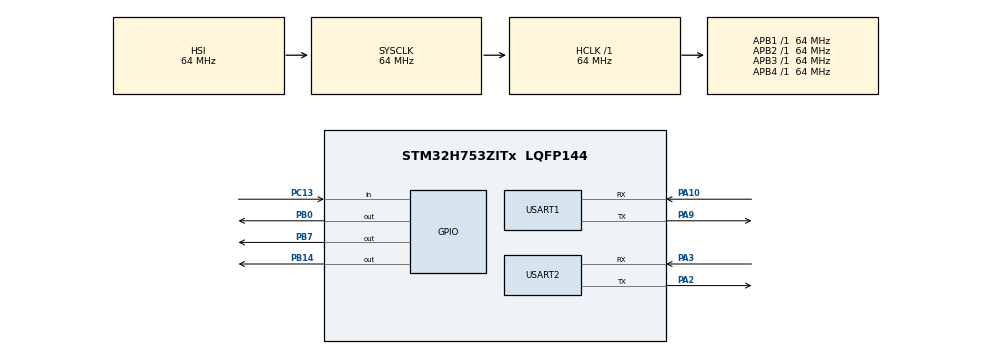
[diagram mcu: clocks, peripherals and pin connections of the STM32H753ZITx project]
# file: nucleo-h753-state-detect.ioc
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CORTEX_M7.CPU_DCache=Disabled
CORTEX_M7.CPU_ICache=Disabled
CORTEX_M7.MPU_Control=__NULL
CORTEX_M7.default_mode_Activation=1
Dma.Request0=USART1_RX
Dma.USART1_RX.0.Direction=DMA_PERIPH_TO_MEMORY
Dma.USART1_RX.0.EventEnable=DISABLE
Dma.USART1_RX.0.FIFOMode=DMA_FIFOMODE_DISABLE
Dma.USART1_RX.0.Instance=DMA1_Stream0
Dma.USART1_RX.0.MemDataAlignment=DMA_MDATAALIGN_BYTE
Dma.USART1_RX.0.MemInc=DMA_MINC_ENABLE
Dma.USART1_RX.0.Mode=DMA_CIRCULAR
Dma.USART1_RX.0.PeriphDataAlignment=DMA_PDATAALIGN_BYTE
Dma.USART1_RX.0.PeriphInc=DMA_PINC_DISABLE
Dma.USART1_RX.0.Polarity=HAL_DMAMUX_REQ_GEN_RISING
Dma.USART1_RX.0.Priority=DMA_PRIORITY_LOW
Dma.USART1_RX.0.RequestNumber=1
Dma.USART1_RX.0.SignalID=NONE
Dma.USART1_RX.0.SyncEnable=DISABLE
Dma.USART1_RX.0.SyncPolarity=HAL_DMAMUX_SYNC_NO_EVENT
Dma.USART1_RX.0.SyncRequestNumber=1
Dma.USART1_RX.0.SyncSignalID=NONE
Mcu.Family=STM32H7
Mcu.Name=STM32H753ZITx
Mcu.Package=LQFP144
NUCLEO-H753ZI.BUTTON=1
NUCLEO-H753ZI.Bsp_Common_DEMO=true
NUCLEO-H753ZI.LD1=true
NUCLEO-H753ZI.LD2=true
NUCLEO-H753ZI.LD3=true
NUCLEO-H753ZI.VCP=true
NVIC.DMA1_Stream0_IRQn=true\:0\:0\:false\:false\:true\:false\:true\:true
NVIC.EXTI15_10_IRQn=true\:0\:0\:false\:false\:true\:false\:true\:true
NVIC.PriorityGroup=NVIC_PRIORITYGROUP_4
NVIC.TIM6_DAC_IRQn=true\:15\:0\:false\:false\:true\:true\:true\:true
NVIC.TIM7_IRQn=true\:0\:0\:false\:false\:true\:true\:true\:true
NVIC.TimeBase=TIM6_DAC_IRQn
NVIC.TimeBaseIP=TIM6
NVIC.USART1_IRQn=true\:0\:0\:false\:false\:true\:true\:true\:true
PA10.Mode=Asynchronous
PA10.Signal=USART1_RX
PA2.Mode=Asynchronous
PA2.Signal=USART2_TX
PA3.Mode=Asynchronous
PA3.Signal=USART2_RX
PA9.Mode=Asynchronous
PA9.Signal=USART1_TX
PB0.Signal=GPIO_Output
PB14.Signal=GPIO_Output
PB7.Signal=GPIO_Output
PC13.Signal=GPIO_Input
PC14-OSC32_IN\ (OSC32_IN).Signal=RCC_OSC32_IN
PC15-OSC32_OUT\ (OSC32_OUT).Signal=RCC_OSC32_OUT
PD8.Signal=USART3_TX
PD9.Signal=USART3_RX
PH0-OSC_IN\ (PH0).Signal=RCC_OSC_IN
PH1-OSC_OUT\ (PH1).Signal=RCC_OSC_OUT
ProjectManager.HeapSize=0x200
ProjectManager.StackSize=0x400
ProjectManager.TargetToolchain=STM32CubeIDE
RCC.ADCFreq_Value=129000000
RCC.APB1Freq_Value=64000000
RCC.APB2Freq_Value=64000000
RCC.APB3Freq_Value=64000000
RCC.APB4Freq_Value=64000000
RCC.CortexFreq_Value=64000000
RCC.DIVM1=1
RCC.DIVN1=24
RCC.DIVQ1=4
RCC.HCLKFreq_Value=64000000
RCC.HSE_VALUE=8000000
RCC.PLLFRACN=0
RCC.PWR_Regulator_Voltage_Scale=PWR_REGULATOR_VOLTAGE_SCALE2
RCC.SYSCLKFreq_VALUE=64000000
RCC.USBFreq_Value=384000000
USART1.VirtualMode-Asynchronous=VM_ASYNC
USART2.VirtualMode-Asynchronous=VM_ASYNC
VP_MEMORYMAP_VS_MEMORYMAP.Mode=CurAppReg
VP_NUCLEO-H753ZI_VS_BSP_COMMON.Mode=COMMON
VP_SYS_VS_tim6.Mode=TIM6
VP_TIM7_VS_ClockSourceINT.Mode=Enable_Timer
board=NUCLEO-H753ZI

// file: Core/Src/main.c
/* USER CODE BEGIN Header */
/**
 ******************************************************************************
 * @file           : main.c
 * @brief          : Main program body
 ******************************************************************************
 * @attention
 *
 * Copyright (c) 2025 STMicroelectronics.
 * All rights reserved.
 *
 * This software is licensed under terms that can be found in the LICENSE file
 * in the root directory of this software component.
 * If no LICENSE file comes with this software, it is provided AS-IS.
 *
 ******************************************************************************
 */
/* USER CODE END Header */
#include "main.h"

/* USER CODE BEGIN Includes */
#include "flight_state.h"   // legacy state machine (requires enum fix noted above)
#include "imu.h"            // IMU_GetLatestData / IMU_CalculateGroundAltitude
// IMU simulator tick we call at 200 Hz tonight (implemented in imu_sim.c)
void IMU_Sim_Tick_200Hz(void);
/* USER CODE END Includes */

COM_InitTypeDef BspCOMInit;
__IO uint32_t BspButtonState = BUTTON_RELEASED;

TIM_HandleTypeDef htim7;

UART_HandleTypeDef huart1;
UART_HandleTypeDef huart2;
DMA_HandleTypeDef hdma_usart1_rx;

/* USER CODE BEGIN PV */
// 200 Hz “run state task” flag set by TIM7 ISR
static volatile uint8_t g_state_tick = 0;

// Track last printed state to print only on transitions
static FlightState_t g_last_state = FLIGHT_STATE_GROUND_IDLE;

static volatile uint8_t simulation_active = 0;

// Counter for timing the printing of IMU values in console
static uint32_t print_counter = 0;

/* USER CODE END PV */

void SystemClock_Config(void);
static void MX_GPIO_Init(void);
static void MX_DMA_Init(void);
static void MX_USART2_UART_Init(void);
static void MX_TIM7_Init(void);
static void MX_USART1_UART_Init(void);
/* USER CODE BEGIN PFP */
// Helpers: printing state transition and driving LEDs based on flight state
static char* PrintState(FlightState_t s);
static void DriveStateLED(FlightState_t s);
/* USER CODE END PFP */

/* USER CODE BEGIN 0 */

// UART print of state transitions using printf routed to COM1 by BSP
static char* PrintState(FlightState_t s) {
	char *name = "UNK";
	switch (s) {
	case FLIGHT_STATE_GROUND_IDLE:
		name = "GROUND";
		break;
	case FLIGHT_STATE_POWERED_FLIGHT:
		name = "POWERED";
		break;
	case FLIGHT_STATE_UNPOWERED_FLIGHT:
		name = "UNPOWERED";
		break;
	case FLIGHT_STATE_DESCENT:
		name = "DESCENT";
		break;
	case FLIGHT_STATE_LANDED:
		name = "LANDED";
		break;
	default:
		break;
	}
//	printf("STATE CHANGE -> %s\r\n", name);
	return name;
}

// Printing IMU data
static void PrintIMUData(IMU_Data_t data, char* state) {
//	printf("[%s] IMU: accel=%.2f,%.2f,%.2f g alt=%.1f ft\r\n", state, data.accelX,
//			data.accelY, data.accelZ, data.altitude);
	printf("[%s] IMU: accel, pitch, roll=%.2f,%.2f,%.2f g alt=%.1f ft\r\n", state, data.yaw,
				data.accelX, data.roll, data.altitude);
}

// Simple visual LED mapping per state (uses Nucleo BSP LEDs)
static void DriveStateLED(FlightState_t s) {
	static uint32_t last_toggle_ms = 0;
	uint32_t now = HAL_GetTick();

	// Example mapping:
	// GREEN for “active flight”, BLUE for descent modes, RED for LANDED solid
	switch (s) {
	case FLIGHT_STATE_GROUND_IDLE:
		BSP_LED_Off(LED_GREEN);
		BSP_LED_Off(LED_BLUE);
		BSP_LED_Off(LED_RED);
		break;

	case FLIGHT_STATE_POWERED_FLIGHT:
		if (now - last_toggle_ms > 100) {
			BSP_LED_Toggle(LED_GREEN);
			last_toggle_ms = now;
		}
		BSP_LED_Off(LED_BLUE);
		BSP_LED_Off(LED_RED);
		break;

	case FLIGHT_STATE_UNPOWERED_FLIGHT:
		BSP_LED_On(LED_GREEN);
		BSP_LED_Off(LED_BLUE);
		BSP_LED_Off(LED_RED);
		break;

	case FLIGHT_STATE_DESCENT:
		if (now - last_toggle_ms > 600) {
			BSP_LED_Toggle(LED_BLUE);
			last_toggle_ms = now;
		}
		BSP_LED_Off(LED_GREEN);
		BSP_LED_Off(LED_RED);
		break;

	case FLIGHT_STATE_LANDED:
		BSP_LED_Off(LED_GREEN);
		BSP_LED_Off(LED_BLUE);
		BSP_LED_On(LED_RED);
		break;
	}
}
/* USER CODE END 0 */

int main(void)
{

  /* USER CODE BEGIN 1 */
	// (nothing needed here)
  /* USER CODE END 1 */

  /* MCU Configuration--------------------------------------------------------*/

  /* Reset of all peripherals, Initializes the Flash interface and the Systick. */
  HAL_Init();

  /* USER CODE BEGIN Init */
	// (nothing needed here)
  /* USER CODE END Init */

  /* Configure the system clock */
  SystemClock_Config();

  /* USER CODE BEGIN SysInit */
	// (nothing needed here)
  /* USER CODE END SysInit */

  /* Initialize all configured peripherals */
  MX_GPIO_Init();
  MX_DMA_Init();
  MX_USART2_UART_Init();
  MX_TIM7_Init();
  MX_USART1_UART_Init();
  /* USER CODE BEGIN 2 */
  imu_setup(&huart1);
	// Initialize legacy flight state machine; it will call IMU_CalculateGroundAltitude()
	FlightState_Init();
	// Record initial state for transition prints
	g_last_state = FlightState_GetCurrent();
	PrintState(g_last_state);
  /* USER CODE END 2 */

  /* Initialize leds */
  BSP_LED_Init(LED_GREEN);
  BSP_LED_Init(LED_BLUE);
  BSP_LED_Init(LED_RED);

  /* Initialize USER push-button, will be used to trigger an interrupt each time it's pressed.*/
  BSP_PB_Init(BUTTON_USER, BUTTON_MODE_EXTI);

  /* Initialize COM1 port (115200, 8 bits (7-bit data + 1 stop bit), no parity */
  BspCOMInit.BaudRate   = 115200;
  BspCOMInit.WordLength = COM_WORDLENGTH_8B;
  BspCOMInit.StopBits   = COM_STOPBITS_1;
  BspCOMInit.Parity     = COM_PARITY_NONE;
  BspCOMInit.HwFlowCtl  = COM_HWCONTROL_NONE;
  if (BSP_COM_Init(COM1, &BspCOMInit) != BSP_ERROR_NONE)
  {
    Error_Handler();
  }

  /* USER CODE BEGIN BSP */

	/* Initialize leds */
	BSP_LED_Init(LED_GREEN);
	BSP_LED_Init(LED_BLUE);
	BSP_LED_Init(LED_RED);

	/* Initialize USER push-button, will be used to trigger an interrupt each time it's pressed.*/
	BSP_PB_Init(BUTTON_USER, BUTTON_MODE_EXTI);

	/* Initialize COM1 port so that it can be used with PuTTy (115200, 8 bits (7-bit data + 1 stop bit), no parity */
	BspCOMInit.BaudRate = 115200;
	BspCOMInit.WordLength = COM_WORDLENGTH_8B;
	BspCOMInit.StopBits = COM_STOPBITS_1;
	BspCOMInit.Parity = COM_PARITY_NONE;
	BspCOMInit.HwFlowCtl = COM_HWCONTROL_NONE;
	if (BSP_COM_Init(COM1, &BspCOMInit) != BSP_ERROR_NONE) {
		Error_Handler();
	}

	/* -- Sample board code to send message over COM port ---- */
	printf("\r\n\r\n*** IMU Simulator & Flight State Demo ***\r\n");
	printf("Press USER button to start/stop simulation\r\n");

	/* -- Sample board code to switch on leds ---- */
	BSP_LED_On(LED_GREEN);
	BSP_LED_On(LED_BLUE);
	BSP_LED_On(LED_RED);

  /* USER CODE END BSP */

  /* Infinite loop */
  /* USER CODE BEGIN WHILE */
	while (1) {

//		/* -- Sample board code for User push-button in interrupt mode ---- */
//		if (BspButtonState == BUTTON_PRESSED) {
//			/* Update button state */
//			BspButtonState = BUTTON_RELEASED;
//
//			/* Toggle Simulated IMU */
//			simulation_active = !simulation_active;
//
//			if (simulation_active) {
//				printf("\r\n *** SIMULATION STARTED ***\r\n");
//				extern volatile uint32_t t_ms;
//				t_ms = 0;
//				/* Reset flight state */
//				FlightState_Init();
				g_last_state = FlightState_GetCurrent();
				PrintState(g_last_state);
//			} else {
//				printf("\r\n*** SIMULATION STOPPED ***\r\n");
//				/* Turn off all LEDs when simulation stops */
//				BSP_LED_Off(LED_GREEN);
//				BSP_LED_Off(LED_BLUE);
//				BSP_LED_Off(LED_RED);
//			}
//		}
//
//		/* USER CODE BEGIN 3 */
//		// ---- SUPERLOOP: run legacy state update at 200 Hz when the TIM7 flag is set ----
//		//if (g_state_tick || simulation_active) {
//			g_state_tick = 0;
//
//			// Run your legacy state machine once per tick.

//
//			// If state changed, print and update LED pattern

//			DriveStateLED(now);

			IMU_Data_t imu_data; //get imu data
			imu_read(&imu_data);
			FlightState_Update(imu_data); //update imu data
			FlightState_t now = FlightState_GetCurrent(); //find current state
			char* curState = PrintState(now);
			if (now != g_last_state) {

				printf("STATE CHANGE -> %s\r\n", curState);
				g_last_state = now;
			}
			PrintIMUData(imu_data, curState);
//			PrintIMUData(imu_data, 'a');

		//}

		// May add sleep until next interrupt to save power (okay to omit)
		// __WFI();
		/* USER CODE END 3 */
	}
    /* USER CODE END WHILE */

    /* USER CODE BEGIN 3 */
		// ---- SUPERLOOP: run legacy state update at 200 Hz when the TIM7 flag is set ----
//		if (g_state_tick && simulation_active) {
//			g_state_tick = 0;
//
//			// Run your legacy state machine once per tick.
//			FlightState_Update();
//
//			// If state changed, print and update LED pattern
//			FlightState_t now = FlightState_GetCurrent();
//			char* curState = PrintState(now);
//
//			if (now != g_last_state) {
//
//				printf("STATE CHANGE -> %s\r\n", curState);
//				g_last_state = now;
//			}
//			DriveStateLED(now);
//
//			print_counter++;
//			if (print_counter >= 20) {
//				IMU_Data_t imu_data;
//				imu_read(&imu_data);
//				PrintIMUData(imu_data, curState);
//				print_counter = 0;
//			}
//		}

		// May add sleep until next interrupt to save power (okay to omit)
		// __WFI();
  /* USER CODE END 3 */
}

void SystemClock_Config(void)
{
  RCC_OscInitTypeDef RCC_OscInitStruct = {0};
  RCC_ClkInitTypeDef RCC_ClkInitStruct = {0};

  /** Supply configuration update enable
  */
  HAL_PWREx_ConfigSupply(PWR_LDO_SUPPLY);

  /** Configure the main internal regulator output voltage
  */
  __HAL_PWR_VOLTAGESCALING_CONFIG(PWR_REGULATOR_VOLTAGE_SCALE2);

  while(!__HAL_PWR_GET_FLAG(PWR_FLAG_VOSRDY)) {}

  /** Initializes the RCC Oscillators according to the specified parameters
  * in the RCC_OscInitTypeDef structure.
  */
  RCC_OscInitStruct.OscillatorType = RCC_OSCILLATORTYPE_HSI;
  RCC_OscInitStruct.HSIState = RCC_HSI_DIV1;
  RCC_OscInitStruct.HSICalibrationValue = RCC_HSICALIBRATION_DEFAULT;
  RCC_OscInitStruct.PLL.PLLState = RCC_PLL_NONE;
  if (HAL_RCC_OscConfig(&RCC_OscInitStruct) != HAL_OK)
  {
    Error_Handler();
  }

  /** Initializes the CPU, AHB and APB buses clocks
  */
  RCC_ClkInitStruct.ClockType = RCC_CLOCKTYPE_HCLK|RCC_CLOCKTYPE_SYSCLK
                              |RCC_CLOCKTYPE_PCLK1|RCC_CLOCKTYPE_PCLK2
                              |RCC_CLOCKTYPE_D3PCLK1|RCC_CLOCKTYPE_D1PCLK1;
  RCC_ClkInitStruct.SYSCLKSource = RCC_SYSCLKSOURCE_HSI;
  RCC_ClkInitStruct.SYSCLKDivider = RCC_SYSCLK_DIV1;
  RCC_ClkInitStruct.AHBCLKDivider = RCC_HCLK_DIV1;
  RCC_ClkInitStruct.APB3CLKDivider = RCC_APB3_DIV1;
  RCC_ClkInitStruct.APB1CLKDivider = RCC_APB1_DIV1;
  RCC_ClkInitStruct.APB2CLKDivider = RCC_APB2_DIV1;
  RCC_ClkInitStruct.APB4CLKDivider = RCC_APB4_DIV1;

  if (HAL_RCC_ClockConfig(&RCC_ClkInitStruct, FLASH_LATENCY_1) != HAL_OK)
  {
    Error_Handler();
  }
}

static void MX_TIM7_Init(void)
{

  TIM_MasterConfigTypeDef sMasterConfig = {0};

  htim7.Instance = TIM7;
  htim7.Init.Prescaler = 0;
  htim7.Init.CounterMode = TIM_COUNTERMODE_UP;
  htim7.Init.Period = 65535;
  htim7.Init.AutoReloadPreload = TIM_AUTORELOAD_PRELOAD_DISABLE;
  if (HAL_TIM_Base_Init(&htim7) != HAL_OK)
  {
    Error_Handler();
  }
  sMasterConfig.MasterOutputTrigger = TIM_TRGO_RESET;
  sMasterConfig.MasterSlaveMode = TIM_MASTERSLAVEMODE_DISABLE;
  if (HAL_TIMEx_MasterConfigSynchronization(&htim7, &sMasterConfig) != HAL_OK)
  {
    Error_Handler();
  }

}

static void MX_USART1_UART_Init(void)
{

  huart1.Instance = USART1;
  huart1.Init.BaudRate = 115200;
  huart1.Init.WordLength = UART_WORDLENGTH_8B;
  huart1.Init.StopBits = UART_STOPBITS_1;
  huart1.Init.Parity = UART_PARITY_NONE;
  huart1.Init.Mode = UART_MODE_TX_RX;
  huart1.Init.HwFlowCtl = UART_HWCONTROL_NONE;
  huart1.Init.OverSampling = UART_OVERSAMPLING_16;
  huart1.Init.OneBitSampling = UART_ONE_BIT_SAMPLE_DISABLE;
  huart1.Init.ClockPrescaler = UART_PRESCALER_DIV1;
  huart1.AdvancedInit.AdvFeatureInit = UART_ADVFEATURE_NO_INIT;
  if (HAL_UART_Init(&huart1) != HAL_OK)
  {
    Error_Handler();
  }
  if (HAL_UARTEx_SetTxFifoThreshold(&huart1, UART_TXFIFO_THRESHOLD_1_8) != HAL_OK)
  {
    Error_Handler();
  }
  if (HAL_UARTEx_SetRxFifoThreshold(&huart1, UART_RXFIFO_THRESHOLD_1_8) != HAL_OK)
  {
    Error_Handler();
  }
  if (HAL_UARTEx_DisableFifoMode(&huart1) != HAL_OK)
  {
    Error_Handler();
  }

}

static void MX_USART2_UART_Init(void)
{

  huart2.Instance = USART2;
  huart2.Init.BaudRate = 115200;
  huart2.Init.WordLength = UART_WORDLENGTH_8B;
  huart2.Init.StopBits = UART_STOPBITS_1;
  huart2.Init.Parity = UART_PARITY_NONE;
  huart2.Init.Mode = UART_MODE_TX_RX;
  huart2.Init.HwFlowCtl = UART_HWCONTROL_NONE;
  huart2.Init.OverSampling = UART_OVERSAMPLING_16;
  huart2.Init.OneBitSampling = UART_ONE_BIT_SAMPLE_DISABLE;
  huart2.Init.ClockPrescaler = UART_PRESCALER_DIV1;
  huart2.AdvancedInit.AdvFeatureInit = UART_ADVFEATURE_NO_INIT;
  if (HAL_UART_Init(&huart2) != HAL_OK)
  {
    Error_Handler();
  }
  if (HAL_UARTEx_SetTxFifoThreshold(&huart2, UART_TXFIFO_THRESHOLD_1_8) != HAL_OK)
  {
    Error_Handler();
  }
  if (HAL_UARTEx_SetRxFifoThreshold(&huart2, UART_RXFIFO_THRESHOLD_1_8) != HAL_OK)
  {
    Error_Handler();
  }
  if (HAL_UARTEx_DisableFifoMode(&huart2) != HAL_OK)
  {
    Error_Handler();
  }

}

static void MX_DMA_Init(void)
{

  /* DMA controller clock enable */
  __HAL_RCC_DMA1_CLK_ENABLE();

  /* DMA interrupt init */
  /* DMA1_Stream0_IRQn interrupt configuration */
  HAL_NVIC_SetPriority(DMA1_Stream0_IRQn, 0, 0);
  HAL_NVIC_EnableIRQ(DMA1_Stream0_IRQn);

}

static void MX_GPIO_Init(void)
{
  /* USER CODE BEGIN MX_GPIO_Init_1 */
	// (CubeMX will generate GPIO inits for LEDs if you checked them; BSP can also handle LEDs)
  /* USER CODE END MX_GPIO_Init_1 */

  /* GPIO Ports Clock Enable */
  __HAL_RCC_GPIOC_CLK_ENABLE();
  __HAL_RCC_GPIOH_CLK_ENABLE();
  __HAL_RCC_GPIOA_CLK_ENABLE();

  /* USER CODE BEGIN MX_GPIO_Init_2 */
	// (no manual GPIO here; using BSP LEDs)
  /* USER CODE END MX_GPIO_Init_2 */
}

/* USER CODE BEGIN 4 */
// User button callback is already below in BSP_PB_Callback
/* USER CODE END 4 */

void HAL_TIM_PeriodElapsedCallback(TIM_HandleTypeDef *htim)
{
  if (htim->Instance == TIM6)
  {
    HAL_IncTick();
  }
}

/**
  * @brief BSP Push Button callback
  * @param Button Specifies the pressed button
  * @retval None
  */
void BSP_PB_Callback(Button_TypeDef Button)
{
  if (Button == BUTTON_USER)
  {
    BspButtonState = BUTTON_PRESSED;
  }
}

void Error_Handler(void)
{
	__disable_irq();
	while (1) {
	}
}
